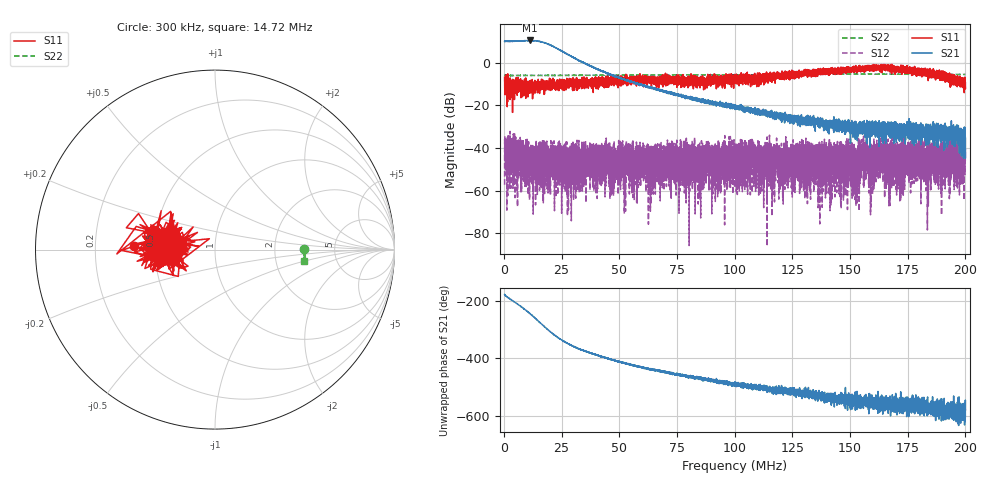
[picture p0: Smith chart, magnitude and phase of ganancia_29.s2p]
# Hz S DB R 50
! CMT, M5065, 19127446, 24.2.4/2
! Date: 10/29/2024 1:18:17 PM
! Data: Format (Calibration Info)
! Freq	S11:dB/Ang(F2)	S21:dB/Ang(F2)	S12:dB/Ang(F2)	S22:dB/Ang(F2)
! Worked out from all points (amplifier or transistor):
!   9000 points, 300 kHz to 200 MHz, reference 50 ohm
!   highest |S21| = 10.4 dB at 11.42 MHz (marker M1)
!   |S21| within 3 dB of that: start of sweep to 21.69 MHz
!   unconditionally stable (mu >= 1): start of sweep to end of sweep
!   at 33.59 MHz: K = 67.16, MAG = 2.2 dB, |S12| = -46.6 dB
!   at 100.2 MHz: K = 636.85, MAG = -18.4 dB, |S12| = -45.8 dB
!   at 200 MHz: K = 1987.95, MAG = -33.2 dB, |S12| = -40.8 dB
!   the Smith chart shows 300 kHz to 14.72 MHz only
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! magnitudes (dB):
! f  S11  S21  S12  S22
! 300 kHz  -6.9  10.0  -57.2  -6.0
! 1.321 MHz  -8.8  10.1  -39.5  -6.0
! 11.42 MHz  -10.2  10.4  -44.5  -6.0
! 33.59 MHz  -9.7  0.4  -46.6  -5.9
! 66.87 MHz  -8.1  -12.7  -43.3  -5.7
! 100.2 MHz  -7.9  -20.6  -45.8  -5.7
! 107.7 MHz  -6.7  -23.1  -47.0  -5.7
! 116.5 MHz  -5.8  -23.8  -47.7  -5.6
! 118.1 MHz  -6.6  -24.6  -45.0  -5.6
! 120.1 MHz  -7.5  -24.8  -43.8  -5.6
! 122.1 MHz  -6.6  -25.3  -53.1  -5.5
! 133.4 MHz  -4.9  -26.7  -41.2  -5.5
! 148.1 MHz  -3.2  -32.9  -49.5  -5.4
! 150.4 MHz  -3.8  -29.8  -48.9  -5.3
! 152.9 MHz  -4.1  -30.0  -47.0  -5.3
! 155.2 MHz  -2.5  -29.7  -43.6  -5.3
! 159.8 MHz  -1.9  -28.7  -41.8  -5.3
! 162.8 MHz  -2.7  -30.0  -41.8  -5.3
! 166.7 MHz  -1.8  -34.3  -45.2  -5.4
! 179.7 MHz  -3.7  -36.2  -53.5  -5.4
! 197.3 MHz  -8.4  -32.3  -54.6  -5.5
! 200 MHz  -9.3  -35.1  -40.8  -5.5
